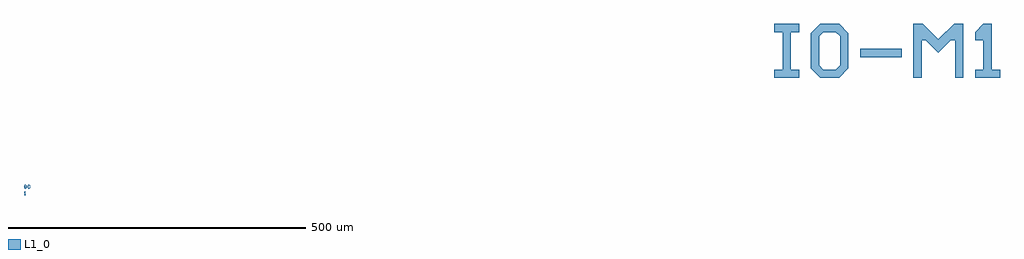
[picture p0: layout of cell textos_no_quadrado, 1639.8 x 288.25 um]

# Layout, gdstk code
import gdstk
lib = gdstk.Library(unit=1e-6, precision=1e-09)
def R(c, l, rs):  # rectangles x0, y0, x1, y1
    for r in rs: c.add(gdstk.rectangle(r[:2], r[2:], *l))
def P(c, l, *ps):  # polygons
    for p in ps: c.add(gdstk.Polygon(p, *l))
L1_0 = (1, 0)

char_i0_m1 = lib.new_cell('char_I0-M1')
R(char_i0_m1, L1_0, [(144.2,63,214.2,77)])
P(char_i0_m1, L1_0, [(42,28),(42,42),(28,42),(28,105),(42,105),(42,119),(0,119),(0,105),(14,105),(14,42),(0,42),(0,28)],
  [(108.92,119),(110.6,98),(124.6,103.32)],
  [(77.42,119),(61.6,103.32),(82.6,105)],
  [(61.6,43.82),(75.6,98),(61.6,103.32)],
  [(103.6,42),(108.92,28),(110.6,49)],
  [(103.6,105),(110.6,98),(108.92,119)],
  [(124.6,43.82),(110.6,98),(110.6,49)],
  [(82.6,42),(77.42,28),(103.6,42)],
  [(108.92,28),(103.6,42),(77.42,28)],
  [(75.6,49),(61.6,43.82),(82.6,42)],
  [(75.6,49),(75.6,98),(61.6,43.82)],
  [(124.6,43.82),(110.6,49),(108.92,28)],
  [(103.6,105),(77.42,119),(82.6,105)],
  [(75.6,98),(82.6,105),(61.6,103.32)],
  [(103.6,105),(108.92,119),(77.42,119)],
  [(124.6,43.82),(124.6,103.32),(110.6,98)],
  [(61.6,43.82),(77.42,28),(82.6,42)],
  [(233.8,28),(247.8,28),(247.8,91),(254.8,91),(275.8,70),(296.8,91),(303.8,91),(303.8,28),(317.8,28),(317.8,119),(302.12,119),(275.8,92.82),(249.62,119),(233.8,119)],
  [(351.4,42),(337.4,42),(337.4,28),(379.4,28),(379.4,42),(365.4,42),(365.4,119),(351.4,119),(337.4,105),(337.4,91),(351.4,91)])

texto_esquerda = lib.new_cell('texto_esquerda')
texto_esquerda.add(gdstk.Reference(char_i0_m1, (2200,-2973.5)))

char_gc_1 = lib.new_cell('char_GC\n1')
P(char_gc_1, L1_0, [(3.13,2),(4.5,3.25),(4.5,5.25),(2.25,5.25),(2.25,4.25),(3.5,4.25),(3.5,3.75),(2.75,3),(1.75,3),(1,3.75),(1,6.75),(1.75,7.5),(2.75,7.5),(3.5,6.75),(3.5,6.25),(4.5,6.25),(4.5,7.25),(3.25,8.5),(1.25,8.5),(0,7.25),(0,3.25),(1.25,2)],
  [(9.03,2),(10.4,3.25),(10.4,4.25),(9.4,4.25),(9.4,3.75),(8.65,3),(7.65,3),(6.9,3.75),(6.9,6.75),(7.65,7.5),(8.65,7.5),(9.4,6.75),(9.4,6.25),(10.4,6.25),(10.4,7.25),(9.15,8.5),(7.15,8.5),(5.9,7.25),(5.9,3.25),(7.15,2)],
  [(1,-8),(0,-8),(0,-9),(3,-9),(3,-8),(2,-8),(2,-2.5),(1,-2.5),(0,-3.5),(0,-4.5),(1,-4.5)])

texto_direita = lib.new_cell('texto_direita')
texto_direita.add(gdstk.Reference(char_gc_1, (939.6,-3133.75)))

textos_no_quadrado = lib.new_cell('textos_no_quadrado')
textos_no_quadrado.add(gdstk.Reference(texto_esquerda, (0,0)))
textos_no_quadrado.add(gdstk.Reference(texto_direita, (0,0)))

lib.write_gds('textos_no_quadrado.gds')
